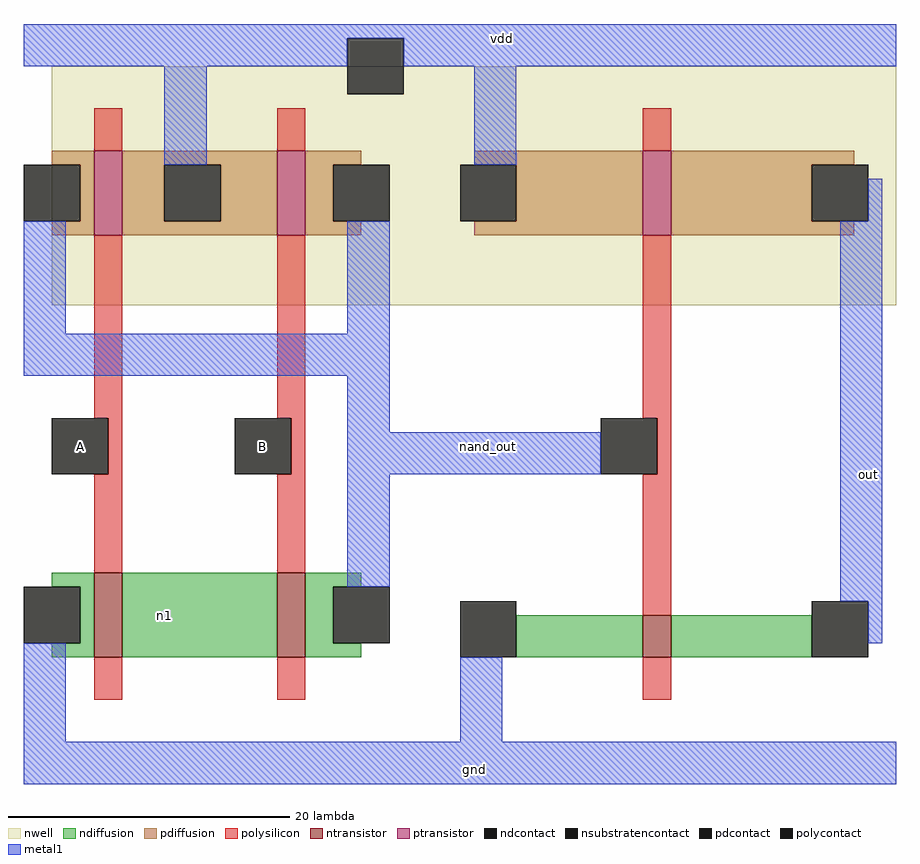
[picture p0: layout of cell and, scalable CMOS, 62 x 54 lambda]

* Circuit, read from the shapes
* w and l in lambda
.subckt and A B gnd n1 nand_out out vdd
M1 n1 A gnd VSUBS nfet w=6 l=2
M2 nand_out B n1 VSUBS nfet w=6 l=2
M3 out nand_out gnd VSUBS nfet w=3 l=2
M4 vdd A nand_out vdd pfet w=6 l=2
M5 nand_out B vdd vdd pfet w=6 l=2
M6 out nand_out vdd vdd pfet w=6 l=2
.ends

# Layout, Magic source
magic
tech scmos
<< nwell >>
rect -24 10 36 27
<< polysilicon >>
rect -21 21 -19 24
rect -8 21 -6 24
rect 18 21 20 24
rect -21 2 -19 15
rect -8 2 -6 15
rect 18 2 20 15
rect -20 -2 -19 2
rect -7 -2 -6 2
rect 19 -2 20 2
rect -21 -9 -19 -2
rect -8 -9 -6 -2
rect 18 -12 20 -2
rect -21 -18 -19 -15
rect -8 -18 -6 -15
rect 18 -18 20 -15
<< ndiffusion >>
rect -24 -10 -21 -9
rect -22 -14 -21 -10
rect -24 -15 -21 -14
rect -19 -15 -8 -9
rect -6 -10 -2 -9
rect -6 -14 -4 -10
rect -6 -15 -2 -14
rect 9 -15 18 -12
rect 20 -15 30 -12
<< pdiffusion >>
rect -24 20 -21 21
rect -22 16 -21 20
rect -24 15 -21 16
rect -19 20 -8 21
rect -19 16 -16 20
rect -12 16 -8 20
rect -19 15 -8 16
rect -6 20 -2 21
rect 6 20 18 21
rect -6 16 -4 20
rect 9 16 18 20
rect -6 15 -2 16
rect 6 15 18 16
rect 20 20 33 21
rect 20 16 30 20
rect 20 15 33 16
<< metal1 >>
rect -26 29 36 30
rect -26 27 -3 29
rect -16 20 -13 27
rect 1 27 36 29
rect 6 20 9 27
rect 34 16 35 19
rect -26 8 -23 16
rect -3 8 0 16
rect -26 5 0 8
rect -3 1 0 5
rect -3 -2 15 1
rect -3 -10 0 -2
rect 32 -11 35 16
rect -26 -21 -23 -14
rect 34 -14 35 -11
rect 5 -21 8 -15
rect -26 -24 36 -21
<< ntransistor >>
rect -21 -15 -19 -9
rect -8 -15 -6 -9
rect 18 -15 20 -12
<< ptransistor >>
rect -21 15 -19 21
rect -8 15 -6 21
rect 18 15 20 21
<< polycontact >>
rect -24 -2 -20 2
rect -11 -2 -7 2
rect 15 -2 19 2
<< ndcontact >>
rect -26 -14 -22 -10
rect -4 -14 0 -10
rect 5 -15 9 -11
rect 30 -15 34 -11
<< pdcontact >>
rect -26 16 -22 20
rect -16 16 -12 20
rect -4 16 0 20
rect 5 16 9 20
rect 30 16 34 20
<< nsubstratencontact >>
rect -3 25 1 29
<< labels >>
rlabel polycontact -22 0 -22 0 3 A
rlabel polycontact -9 0 -9 0 1 B
rlabel metal1 8 29 8 29 5 vdd
rlabel ndiffusion -16 -12 -16 -12 1 n1
rlabel metal1 7 0 7 0 1 nand_out
rlabel metal1 34 -2 34 -2 7 out
rlabel metal1 6 -23 6 -23 1 gnd
<< end >>
